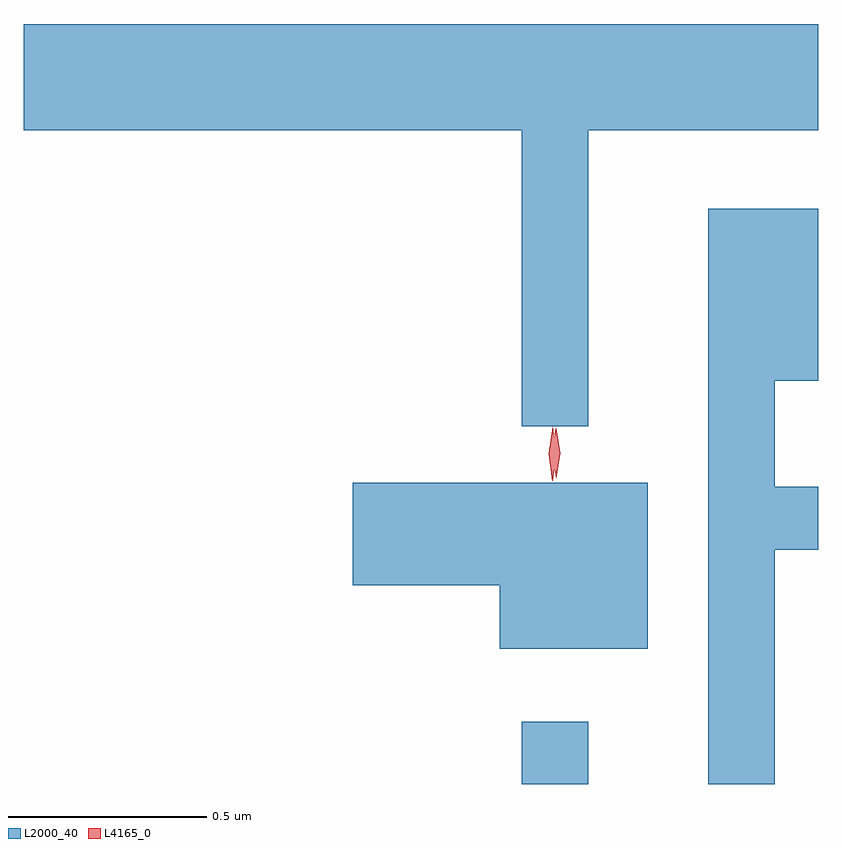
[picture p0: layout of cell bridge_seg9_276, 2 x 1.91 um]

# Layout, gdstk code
import gdstk
lib = gdstk.Library(unit=1e-6, precision=1e-09)
def R(c, l, rs):  # rectangles x0, y0, x1, y1
    for r in rs: c.add(gdstk.rectangle(r[:2], r[2:], *l))
def P(c, l, *ps):  # polygons
    for p in ps: c.add(gdstk.Polygon(p, *l))
L2000_40 = (2000, 40)
L4165_0 = (4165, 0)

bridge_seg9_276 = lib.new_cell('bridge_seg9_276')
R(bridge_seg9_276, L2000_40, [(936.851,2050.111,937.019,2050.268)])
P(bridge_seg9_276, L2000_40, [(937.019,2051.756),(937.598,2051.756),(937.598,2052.024),(935.598,2052.024),(935.598,2051.756),(936.851,2051.756),(936.851,2051.012),(937.019,2051.012)],
  [(937.489,2050.701),(937.598,2050.701),(937.598,2050.859),(937.489,2050.859),(937.489,2051.126),(937.598,2051.126),(937.598,2051.559),(937.321,2051.559),(937.321,2050.111),(937.489,2050.111)],
  [(937.169,2050.869),(936.426,2050.869),(936.426,2050.611),(936.796,2050.611),(936.796,2050.451),(937.169,2050.451)])
P(bridge_seg9_276, L4165_0, [(936.928,2050.874),(936.928,2050.874),(936.919,2050.942),(936.93,2051.01),(936.93,2051.01),(936.93,2051.01),(936.939,2050.942),(936.929,2050.874)],
  [(936.938,2050.88),(936.938,2050.88),(936.928,2050.943),(936.937,2051.006),(936.938,2051.007),(936.938,2051.006),(936.948,2050.943),(936.939,2050.88)])

lib.write_gds('bridge_seg9_276.gds')
